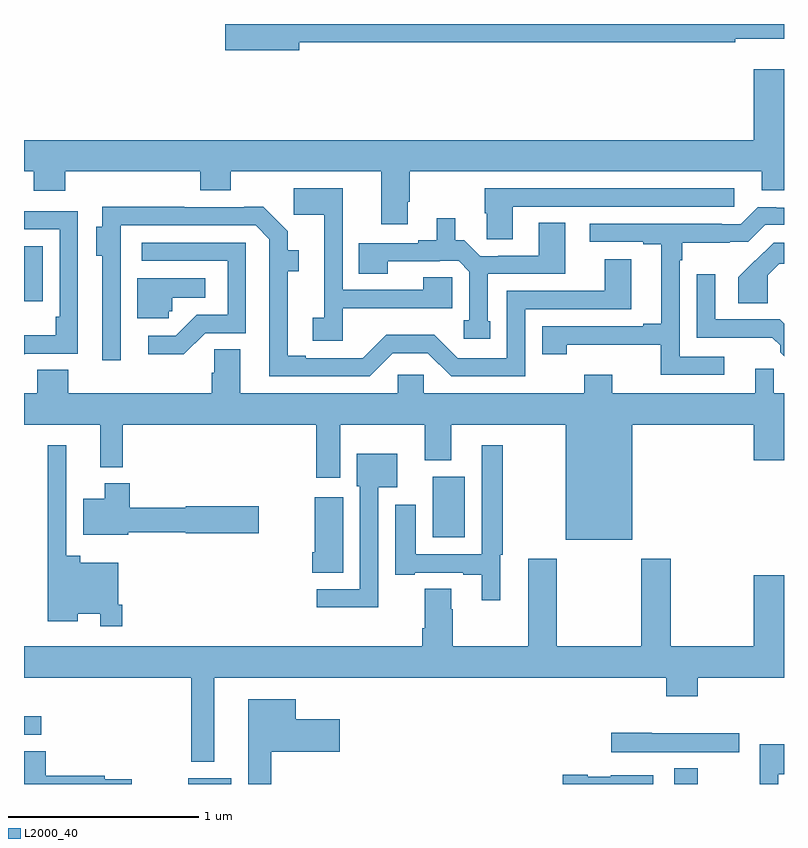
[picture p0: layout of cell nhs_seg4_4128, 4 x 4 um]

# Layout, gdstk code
import gdstk
lib = gdstk.Library(unit=1e-6, precision=1e-09)
def R(c, l, rs):  # rectangles x0, y0, x1, y1
    for r in rs: c.add(gdstk.rectangle(r[:2], r[2:], *l))
def P(c, l, *ps):  # polygons
    for p in ps: c.add(gdstk.Polygon(p, *l))
L2000_40 = (2000, 40)

nhs_seg4_4128 = lib.new_cell('nhs_seg4_4128')
R(nhs_seg4_4128, L2000_40, [(329.864,822.9,330.091,822.931), (332.423,822.9,332.545,822.983), (329,823.158,329.092,823.256), (331.151,824.198,331.321,824.518), (329,825.44,329.098,825.73)])
P(nhs_seg4_4128, L2000_40, [(330.448,826.804),(332.744,826.804),(332.744,826.823),(333,826.823),(333,826.9),(330.06,826.9),(330.06,826.762),(330.448,826.762)],
  [(331.021,825.964),(331.029,825.964),(331.029,826.124),(332.882,826.124),(332.882,826.026),(333,826.026),(333,826.663),(332.84,826.663),(332.84,826.288),(329,826.288),(329,826.124),(329.051,826.124),(329.051,826.022),(329.216,826.022),(329.216,826.124),(329.927,826.124),(329.927,826.025),(330.087,826.025),(330.087,826.124),(330.881,826.124),(330.881,825.846),(331.021,825.846)],
  [(330.678,825.404),(331.145,825.404),(331.145,825.405),(331.255,825.405),(331.255,825.566),(331.102,825.566),(331.102,825.501),(330.678,825.501),(330.678,826.036),(330.42,826.036),(330.42,825.897),(330.581,825.897),(330.581,825.354),(330.519,825.354),(330.519,825.234),(330.678,825.234)],
  [(331.573,825.939),(332.737,825.939),(332.737,826.035),(331.426,826.035),(331.426,825.903),(331.435,825.903),(331.435,825.766),(331.573,825.766)],
  [(330.942,825.168),(331.125,825.168),(331.248,825.045),(331.638,825.045),(331.638,825.399),(332.197,825.399),(332.197,825.661),(332.057,825.661),(332.057,825.495),(331.542,825.495),(331.542,825.141),(331.284,825.141),(331.16,825.265),(330.906,825.265),(330.782,825.141),(330.484,825.141),(330.484,825.154),(330.388,825.154),(330.388,825.6),(330.445,825.6),(330.445,825.71),(330.389,825.71),(330.389,825.808),(330.259,825.938),(330.158,825.938),(330.158,825.936),(329.843,825.936),(329.843,825.938),(329.412,825.938),(329.412,825.832),(329.381,825.832),(329.381,825.68),(329.412,825.68),(329.412,825.129),(329.508,825.129),(329.508,825.84),(330.219,825.84),(330.291,825.768),(330.291,825.045),(330.819,825.045)],
  [(332.686,825.15),(332.451,825.15),(332.451,825.656),(332.464,825.656),(332.464,825.75),(332.714,825.75),(332.714,825.753),(332.811,825.753),(332.901,825.843),(333,825.843),(333,825.933),(332.96,825.933),(332.96,825.936),(332.862,825.936),(332.772,825.846),(332.672,825.846),(332.672,825.849),(331.977,825.849),(331.977,825.753),(332.258,825.753),(332.258,825.741),(332.354,825.741),(332.354,825.322),(332.258,825.322),(332.258,825.309),(331.728,825.309),(331.728,825.162),(331.856,825.162),(331.856,825.212),(332.35,825.212),(332.35,825.054),(332.686,825.054)],
  [(329.005,825.165),(329.283,825.165),(329.283,825.915),(329,825.915),(329,825.819),(329.187,825.819),(329.187,825.358),(329.167,825.358),(329.167,825.262),(329,825.262),(329,825.161),(329.005,825.161)],
  [(331.453,825.336),(331.44,825.336),(331.44,825.585),(331.849,825.585),(331.849,825.854),(331.709,825.854),(331.709,825.681),(331.495,825.681),(331.495,825.678),(331.401,825.678),(331.317,825.762),(331.27,825.762),(331.27,825.877),(331.172,825.877),(331.172,825.762),(331.076,825.762),(331.076,825.747),(330.763,825.747),(330.763,825.586),(330.915,825.586),(330.915,825.651),(331.187,825.651),(331.187,825.654),(331.287,825.654),(331.344,825.597),(331.344,825.342),(331.314,825.342),(331.314,825.243),(331.453,825.243)],
  [(329.955,825.273),(330.168,825.273),(330.168,825.75),(329.619,825.75),(329.619,825.654),(330.072,825.654),(330.072,825.369),(329.91,825.369),(329.799,825.258),(329.655,825.258),(329.655,825.161),(329.842,825.161)],
  [(332.914,825.578),(332.975,825.639),(333,825.639),(333,825.75),(332.945,825.75),(332.848,825.653),(332.847,825.654),(332.76,825.566),(332.76,825.43),(332.914,825.43)],
  [(333,825.322),(332.977,825.345),(332.637,825.345),(332.637,825.583),(332.541,825.583),(332.541,825.249),(332.834,825.249),(332.834,825.248),(332.938,825.248),(332.979,825.208),(332.979,825.173),(333,825.152)],
  [(329.763,825.387),(329.781,825.387),(329.781,825.458),(329.953,825.458),(329.953,825.562),(329.597,825.562),(329.597,825.351),(329.763,825.351)],
  [(332.2,824.792),(332.84,824.792),(332.84,824.604),(333,824.604),(333,824.956),(332.945,824.956),(332.945,825.086),(332.849,825.086),(332.849,824.956),(332.095,824.956),(332.095,825.055),(331.948,825.055),(331.948,824.956),(331.104,824.956),(331.104,825.054),(330.966,825.054),(330.966,824.956),(330.139,824.956),(330.139,825.188),(330,825.188),(330,825.065),(329.987,825.065),(329.987,824.956),(329.234,824.956),(329.234,825.08),(329.069,825.08),(329.069,824.956),(329,824.956),(329,824.792),(329.402,824.792),(329.402,824.567),(329.519,824.567),(329.519,824.792),(330.539,824.792),(330.539,824.511),(330.664,824.511),(330.664,824.792),(331.109,824.792),(331.109,824.603),(331.249,824.603),(331.249,824.792),(331.85,824.792),(331.85,824.186),(332.2,824.186)],
  [(331.507,824.106),(331.519,824.106),(331.519,824.683),(331.41,824.683),(331.41,824.109),(331.063,824.109),(331.063,824.371),(330.953,824.371),(330.953,824.001),(331.057,824.001),(331.057,824.013),(331.313,824.013),(331.313,824.001),(331.409,824.001),(331.409,823.866),(331.507,823.866)],
  [(329.516,823.843),(329.496,823.843),(329.496,824.065),(329.297,824.065),(329.297,824.101),(329.223,824.101),(329.223,824.683),(329.126,824.683),(329.126,823.757),(329.284,823.757),(329.284,823.796),(329.4,823.796),(329.4,823.731),(329.516,823.731)],
  [(330.864,824.462),(330.964,824.462),(330.964,824.638),(330.752,824.638),(330.752,824.466),(330.768,824.466),(330.768,823.926),(330.54,823.926),(330.54,823.829),(330.864,823.829)],
  [(329.548,824.224),(329.85,824.224),(329.85,824.219),(330.235,824.219),(330.235,824.361),(329.85,824.361),(329.85,824.353),(329.556,824.353),(329.556,824.482),(329.426,824.482),(329.426,824.401),(329.312,824.401),(329.312,824.213),(329.548,824.213)],
  [(330.679,824.41),(330.53,824.41),(330.53,824.119),(330.518,824.119),(330.518,824.011),(330.679,824.011)],
  [(330.001,823.46),(332.381,823.46),(332.381,823.361),(332.546,823.361),(332.546,823.46),(333,823.46),(333,823.999),(332.84,823.999),(332.84,823.624),(332.403,823.624),(332.403,824.086),(332.248,824.086),(332.248,823.624),(331.803,823.624),(331.803,824.086),(331.655,824.086),(331.655,823.624),(331.257,823.624),(331.257,823.82),(331.249,823.82),(331.249,823.928),(331.109,823.928),(331.109,823.72),(331.097,823.72),(331.097,823.624),(329,823.624),(329,823.46),(329.88,823.46),(329.88,823.016),(330.001,823.016)],
  [(330.301,823.07),(330.661,823.07),(330.661,823.24),(330.43,823.24),(330.43,823.345),(330.179,823.345),(330.179,822.9),(330.301,822.9)],
  [(332.764,823.166),(332.303,823.166),(332.303,823.169),(332.091,823.169),(332.091,823.068),(332.764,823.068)],
  [(332.97,822.952),(333,822.952),(333,823.108),(332.872,823.108),(332.872,822.9),(332.97,822.9)],
  [(329.568,822.924),(329.426,822.924),(329.426,822.944),(329.114,822.944),(329.114,823.073),(329,823.073),(329,822.9),(329.568,822.9)],
  [(332.311,822.946),(332.088,822.946),(332.088,822.937),(331.968,822.937),(331.968,822.95),(331.836,822.95),(331.836,822.9),(332.311,822.9)])

lib.write_gds('nhs_seg4_4128.gds')
